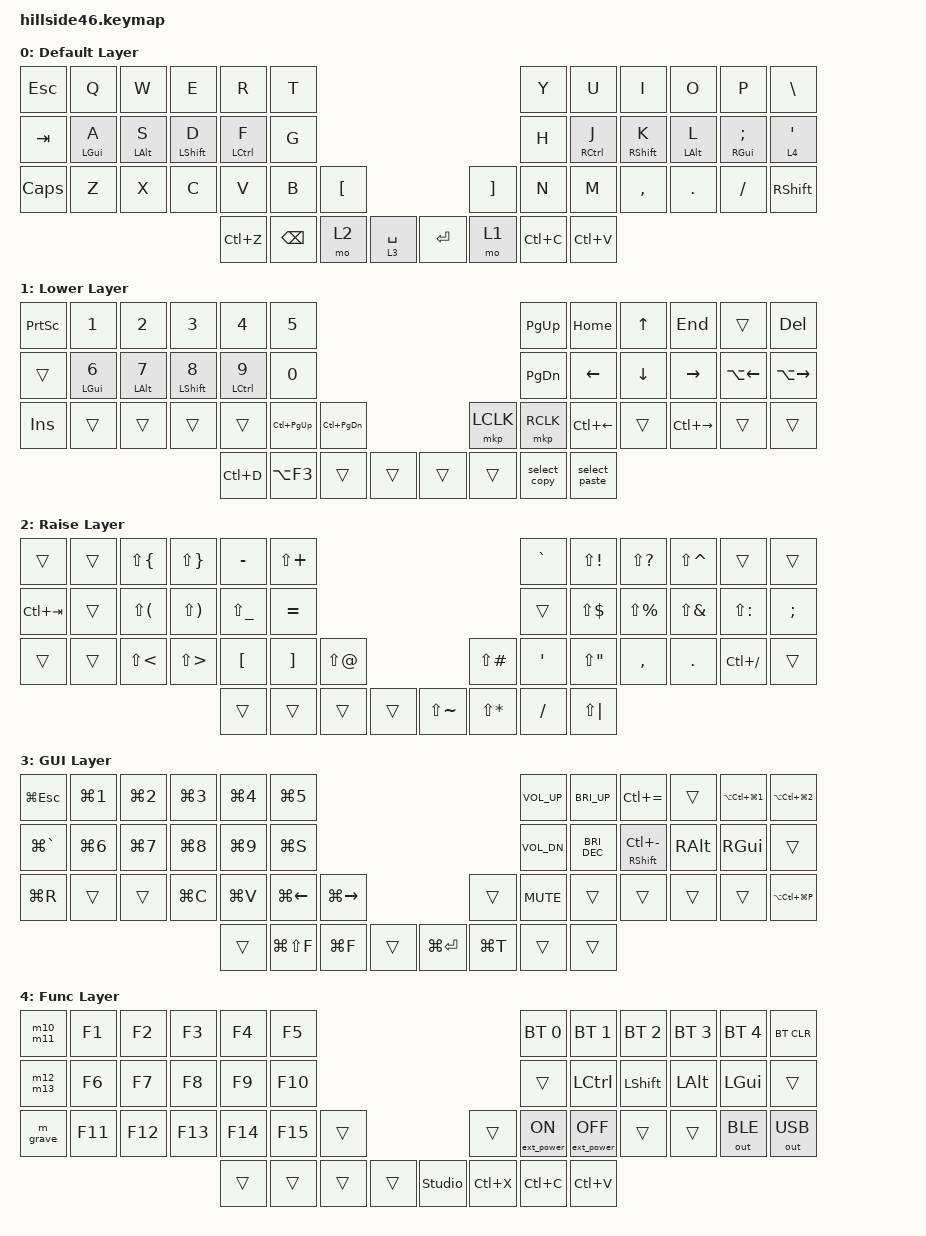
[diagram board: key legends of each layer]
/*
 * Copyright (c) 2021-2022 The ZMK Contributors
 *
 * SPDX-License-Identifier: MIT
 */

#include <behaviors.dtsi>
#include <dt-bindings/zmk/bt.h>
#include <dt-bindings/zmk/ext_power.h>
#include <dt-bindings/zmk/keys.h>
#include <dt-bindings/zmk/outputs.h>
#include <dt-bindings/zmk/pointing.h>

#define QWERTY_L 0
#define DVORAK_L 1
#define COLEMK_L 2
#define NAV_L    3
#define SYM_L    4
#define ADJ_L    5
#define Undo   LC(Z)
#define Cut    LC(X)
#define Copy   LC(C)
#define Paste  LC(V)
#define Redo   LC(Y)

/ {
    behaviors {
        hml: homewrow_mods_left {
            compatible = "zmk,behavior-hold-tap";
            label = "HOMEROW_MODS_LEFT_HAND";
            bindings = <&kp>, <&kp>;

            #binding-cells = <2>;
            tapping-term-ms = <280>;
            hold-trigger-key-positions = <45 32 44 6 9 10 11 18 19 20 21 22 23 32 33 34 35 36 37 44 45 6 7 9 18 19 20 21 31 32 33 34 35 42 43 44 45 8>;
            quick-tap-ms = <175>;
            require-prior-idle-ms = <150>;
            flavor = "balanced";
            hold-trigger-on-release;
        };

        hmr: homewrow_mods_right {
            compatible = "zmk,behavior-hold-tap";
            label = "HOMEROW_MODS_RIGHT_HAND";
            bindings = <&kp>, <&kp>;

            #binding-cells = <2>;
            tapping-term-ms = <280>;
            hold-trigger-key-positions = <0 1 12 13 14 16 17 24 25 26 27 28 29 30 38 39 40 41 0 1 2 3 4 5 12 13 14 15 16 17 24 25 26 27 28 29 30 39>;
            quick-tap-ms = <175>;
            require-prior-idle-ms = <150>;
            flavor = "balanced";
            hold-trigger-on-release;
        };

        m10_m11: m10_m11 {
            compatible = "zmk,behavior-mod-morph";
            label = "M10_M11";
            bindings = <&m10>, <&m11>;

            #binding-cells = <0>;
            mods = <(MOD_LGUI)>;
        };

        m12_m13: m12_m13 {
            compatible = "zmk,behavior-mod-morph";
            label = "M12_M13";
            bindings = <&m12>, <&m13>;

            #binding-cells = <0>;
            mods = <(MOD_LGUI)>;
        };
    };

    macros {
        m10: m10 {
            compatible = "zmk,behavior-macro";
            #binding-cells = <0>;
            bindings = <&kp A &kp B &kp C &kp D &kp E &kp F &kp G &kp H>;
            label = "M10";
        };

        m11: m11 {
            compatible = "zmk,behavior-macro";
            #binding-cells = <0>;
            bindings = <&kp A &kp B &kp C &kp D &kp E &kp F &kp G &kp H &kp I &kp J &kp K>;
            label = "M11";
        };

        m12: m12 {
            compatible = "zmk,behavior-macro";
            #binding-cells = <0>;
            bindings = <&kp A &kp B &kp C &kp D &kp E &kp F &kp G &kp H &kp I &kp J &kp K &kp L &kp M>;
            label = "M12";
        };

        m13: m13 {
            compatible = "zmk,behavior-macro";
            #binding-cells = <0>;
            bindings =
                <&kp A &kp B &kp C &kp D &kp E &kp F &kp G &kp H &kp I &kp K &kp K &kp TAB>,
                <&macro_tap_time 50>,
                <&kp A &kp B &kp C &kp D &kp E &kp F &kp G &kp H &kp I &kp J &kp K &kp L &kp L>;

            label = "M13";
        };

        m_grave: m_grave {
            compatible = "zmk,behavior-macro";
            #binding-cells = <0>;
            bindings =
                <&kp GRAVE &kp GRAVE &kp GRAVE>,
                <&macro_wait_time 10>,
                <&kp ENTER &kp ENTER>,
                <&macro_wait_time 10>,
                <&kp GRAVE &kp GRAVE &kp GRAVE>,
                <&macro_wait_time 10>,
                <&kp UP>;

            label = "M_GRAVE";
        };

        select_copy: select_copy {
            compatible = "zmk,behavior-macro";
            #binding-cells = <0>;
            bindings = <&kp LC(A)>, <&macro_wait_time 50>, <&kp LC(C)>;

            label = "SELECT_COPY";
        };

        select_paste: select_paste {
            compatible = "zmk,behavior-macro";
            #binding-cells = <0>;
            bindings = <&kp LC(A)>, <&macro_wait_time 50>, <&kp LC(V)>;

            label = "SELECT_PASTE";
        };
    };

    combos {
        compatible = "zmk,combos";

        mouse_middle {
            bindings = <&mkp MCLK>;
            key-positions = <31 32>;
            layers = <1>;
        };
    };

    keymap {
        compatible = "zmk,keymap";

        default_layer {
            /* QWERTY
 * -------------------------------------------------------------------------------------------------------------------------------------
 * | `     |   Q   |   W   |   E   |   R   |   T   |-----------------------------------|   Y   |   U   |   I   |   O   |   P   | BKSPC |
 * | TAB   |   A   |   S   |   D   |   F   |   G   |-----------------------------------|   H   |   J   |   K   |   L   |   ;   | ENTER |
 * | CTRL  |   Z   |   X   |   C   |   V   |   B   |  ESC  |-------------------|  CAPS |   N   |   M   |   ,   |   .   |   /   |   '   |
 *                                 |  GUI  |  ALT  |SK SHFT|  Nav  |---|  Sym  | SPACE |  ALT  |  GUI  |
 */

            bindings = <
&kp ESC   &kp Q        &kp W        &kp E          &kp R         &kp T                                                   &kp Y      &kp U         &kp I         &kp O        &kp P           &kp BSLH
&kp TAB   &hml LGUI A  &hml LALT S  &hml LSHIFT D  &hml LCTRL F  &kp G                                                   &kp H      &hmr RCTRL J  &hmr RSHFT K  &hmr LALT L  &hmr RGUI SEMI  &lt 4 SQT
&kp CLCK  &kp Z        &kp X        &kp C          &kp V         &kp B     &kp LBKT                            &kp RBKT  &kp N      &kp M         &kp COMMA     &kp DOT      &kp SLASH       &kp RSHIFT
                                                   &kp LC(Z)     &kp BSPC  &mo 2     &lt 3 SPACE    &kp ENTER  &mo 1     &kp LC(C)  &kp LC(V)
            >;

            label = "Default Layer";
        };

        lower_layer {
            bindings = <
&kp PSCRN  &kp N1        &kp N2        &kp N3         &kp N4         &kp N5                                                     &kp PG_UP     &kp HOME       &kp UP    &kp END        &trans        &kp DEL
&trans     &hml LGUI N6  &hml LALT N7  &hml LSHFT N8  &hml LCTRL N9  &kp N0                                                     &kp PG_DN     &kp LEFT       &kp DOWN  &kp RIGHT      &kp LA(LEFT)  &kp LA(RIGHT)
&kp INS    &trans        &trans        &trans         &trans         &kp LC(PG_UP)  &kp LC(PG_DN)                    &mkp LCLK  &mkp RCLK     &kp LC(LEFT)   &trans    &kp LC(RIGHT)  &trans        &trans
                                                      &kp LC(D)      &kp LA(F3)     &trans         &trans    &trans  &trans     &select_copy  &select_paste
            >;

            label = "Lower Layer";
        };

        raise_layer {
            bindings = <
&trans       &trans  &kp LS(LBRC)  &kp LS(RBRC)  &kp MINUS      &kp LS(PLUS)                                                      &kp GRAVE  &kp LS(EXCL)  &kp LS(QMARK)  &kp LS(CARET)  &trans         &trans
&kp LC(TAB)  &trans  &kp LS(LPAR)  &kp LS(RPAR)  &kp LS(UNDER)  &kp EQUAL                                                         &trans     &kp LS(DLLR)  &kp LS(PRCNT)  &kp LS(AMPS)   &kp LS(COLON)  &kp SEMI
&trans       &trans  &kp LS(LT)    &kp LS(GT)    &kp LBKT       &kp RBKT      &kp LS(AT)                           &kp LS(POUND)  &kp SQT    &kp LS(DQT)   &kp COMMA      &kp DOT        &kp LC(FSLH)   &trans
                                                 &trans         &trans        &trans      &trans    &kp LS(TILDE)  &kp LS(STAR)   &kp FSLH   &kp LS(PIPE)
            >;

            label = "Raise Layer";
        };

        gui_layer {
            bindings = <
&kp LG(ESC)    &kp LG(N1)  &kp LG(N2)  &kp LG(N3)  &kp LG(N4)  &kp LG(N5)                                                        &kp C_VOL_UP  &kp C_BRI_UP   &kp LC(EQUAL)         &trans    &kp LA(LC(LG(N1)))  &kp LA(LC(LG(N2)))
&kp LG(GRAVE)  &kp LG(N6)  &kp LG(N7)  &kp LG(N8)  &kp LG(N9)  &kp LG(S)                                                         &kp C_VOL_DN  &kp C_BRI_DEC  &hmr RSHFT LC(MINUS)  &kp RALT  &kp RGUI            &trans
&kp LG(R)      &trans      &trans      &kp LG(C)   &kp LG(V)   &kp LG(LEFT)   &kp LG(RIGHT)                           &trans     &kp K_MUTE    &trans         &trans                &trans    &trans              &kp LA(LC(LG(P)))
                                                   &trans      &kp LG(LS(F))  &kp LG(F)      &trans    &kp LG(ENTER)  &kp LG(T)  &trans        &trans
            >;

            label = "GUI Layer";
        };

        func_layer {
            bindings = <
&m10_m11  &kp F1   &kp F2   &kp F3   &kp F4   &kp F5                                                &bt BT_SEL 0      &bt BT_SEL 1       &bt BT_SEL 2  &bt BT_SEL 3  &bt BT_SEL 4  &bt BT_CLR
&m12_m13  &kp F6   &kp F7   &kp F8   &kp F9   &kp F10                                               &trans            &kp LCTRL          &kp LSHFT     &kp LALT      &kp LGUI      &trans
&m_grave  &kp F11  &kp F12  &kp F13  &kp F14  &kp F15  &trans                            &trans     &ext_power EP_ON  &ext_power EP_OFF  &trans        &trans        &out OUT_BLE  &out OUT_USB
                                     &trans   &trans   &trans  &trans    &studio_unlock  &kp LC(X)  &kp LC(C)         &kp LC(V)
            >;

            label = "Func Layer";
        };
    };
};
